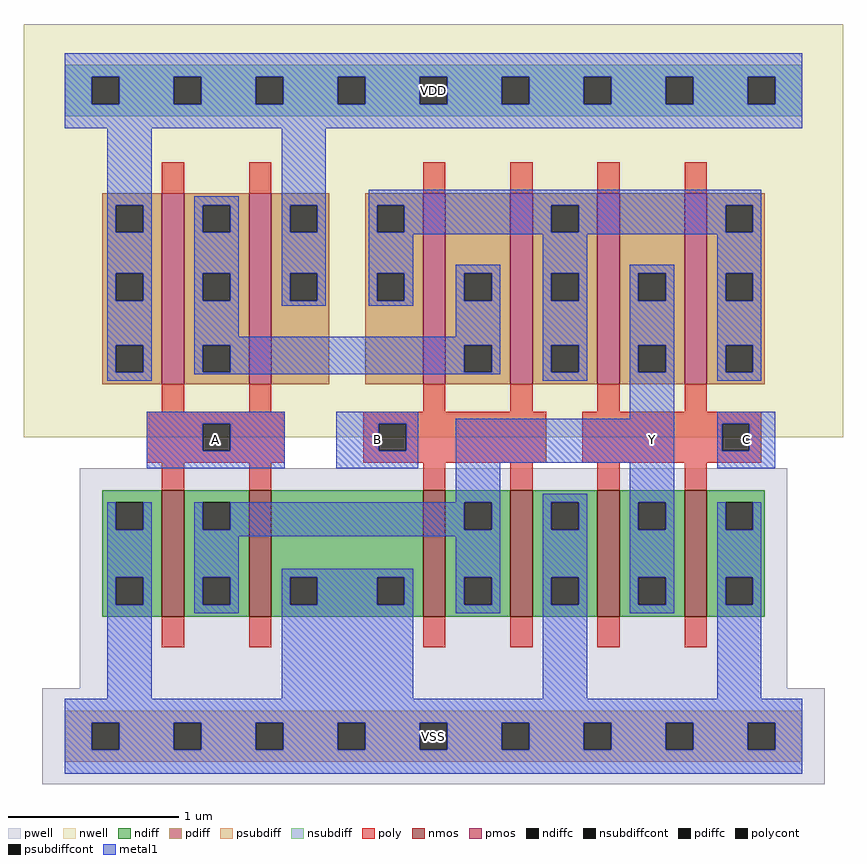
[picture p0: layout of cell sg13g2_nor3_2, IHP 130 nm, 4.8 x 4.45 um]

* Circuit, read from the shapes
.subckt sg13g2_nor3_2 B C Y VDD VSS A
XM1 Y A VSS VSS sg13_lv_nmos w=0.74u l=0.13u m=2
XM2 Y B VSS VSS sg13_lv_nmos w=0.74u l=0.13u m=2
XM3 Y C VSS VSS sg13_lv_nmos w=0.74u l=0.13u m=2
XM4 n1 A VDD VDD sg13_lv_pmos w=1.12u l=0.13u m=2
XM5 n1 B n2 VDD sg13_lv_pmos w=1.12u l=0.13u m=2
XM6 Y C n2 VDD sg13_lv_pmos w=1.12u l=0.13u m=2
.ends

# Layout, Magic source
magic
tech ihp-sg13g2
<< nwell >>
rect -24 175 456 417
<< pwell >>
rect 9 28 423 157
rect -13 -28 445 28
<< nmos >>
rect 57 70 70 144
rect 108 70 121 144
rect 210 70 223 144
rect 261 70 274 144
rect 312 70 325 144
rect 363 70 376 144
<< pmos >>
rect 57 206 70 318
rect 108 206 121 318
rect 210 206 223 318
rect 261 206 274 318
rect 312 206 325 318
rect 363 206 376 318
<< ndiff >>
rect 22 137 57 144
rect 22 121 30 137
rect 46 121 57 137
rect 22 93 57 121
rect 22 77 30 93
rect 46 77 57 93
rect 22 70 57 77
rect 70 137 108 144
rect 70 121 81 137
rect 97 121 108 137
rect 70 93 108 121
rect 70 77 81 93
rect 97 77 108 93
rect 70 70 108 77
rect 121 93 210 144
rect 121 77 132 93
rect 148 77 183 93
rect 199 77 210 93
rect 121 70 210 77
rect 223 137 261 144
rect 223 121 234 137
rect 250 121 261 137
rect 223 93 261 121
rect 223 77 234 93
rect 250 77 261 93
rect 223 70 261 77
rect 274 137 312 144
rect 274 121 285 137
rect 301 121 312 137
rect 274 93 312 121
rect 274 77 285 93
rect 301 77 312 93
rect 274 70 312 77
rect 325 137 363 144
rect 325 121 336 137
rect 352 121 363 137
rect 325 93 363 121
rect 325 77 336 93
rect 352 77 363 93
rect 325 70 363 77
rect 376 137 410 144
rect 376 121 387 137
rect 403 121 410 137
rect 376 93 410 121
rect 376 77 387 93
rect 403 77 410 93
rect 376 70 410 77
<< pdiff >>
rect 22 311 57 318
rect 22 295 30 311
rect 46 295 57 311
rect 22 271 57 295
rect 22 255 30 271
rect 46 255 57 271
rect 22 229 57 255
rect 22 213 30 229
rect 46 213 57 229
rect 22 206 57 213
rect 70 311 108 318
rect 70 295 81 311
rect 97 295 108 311
rect 70 271 108 295
rect 70 255 81 271
rect 97 255 108 271
rect 70 229 108 255
rect 70 213 81 229
rect 97 213 108 229
rect 70 206 108 213
rect 121 311 155 318
rect 121 295 132 311
rect 148 295 155 311
rect 121 271 155 295
rect 121 255 132 271
rect 148 255 155 271
rect 121 206 155 255
rect 176 311 210 318
rect 176 295 183 311
rect 199 295 210 311
rect 176 271 210 295
rect 176 255 183 271
rect 199 255 210 271
rect 176 206 210 255
rect 223 271 261 318
rect 223 255 234 271
rect 250 255 261 271
rect 223 229 261 255
rect 223 213 234 229
rect 250 213 261 229
rect 223 206 261 213
rect 274 311 312 318
rect 274 295 285 311
rect 301 295 312 311
rect 274 271 312 295
rect 274 255 285 271
rect 301 255 312 271
rect 274 229 312 255
rect 274 213 285 229
rect 301 213 312 229
rect 274 206 312 213
rect 325 271 363 318
rect 325 255 336 271
rect 352 255 363 271
rect 325 229 363 255
rect 325 213 336 229
rect 352 213 363 229
rect 325 206 363 213
rect 376 311 410 318
rect 376 295 387 311
rect 403 295 410 311
rect 376 271 410 295
rect 376 255 387 271
rect 403 255 410 271
rect 376 229 410 255
rect 376 213 387 229
rect 403 213 410 229
rect 376 206 410 213
<< ndiffc >>
rect 30 121 46 137
rect 30 77 46 93
rect 81 121 97 137
rect 81 77 97 93
rect 132 77 148 93
rect 183 77 199 93
rect 234 121 250 137
rect 234 77 250 93
rect 285 121 301 137
rect 285 77 301 93
rect 336 121 352 137
rect 336 77 352 93
rect 387 121 403 137
rect 387 77 403 93
<< pdiffc >>
rect 30 295 46 311
rect 30 255 46 271
rect 30 213 46 229
rect 81 295 97 311
rect 81 255 97 271
rect 81 213 97 229
rect 132 295 148 311
rect 132 255 148 271
rect 183 295 199 311
rect 183 255 199 271
rect 234 255 250 271
rect 234 213 250 229
rect 285 295 301 311
rect 285 255 301 271
rect 285 213 301 229
rect 336 255 352 271
rect 336 213 352 229
rect 387 295 403 311
rect 387 255 403 271
rect 387 213 403 229
<< psubdiff >>
rect 0 8 432 15
rect 0 -8 16 8
rect 32 -8 64 8
rect 80 -8 112 8
rect 128 -8 160 8
rect 176 -8 208 8
rect 224 -8 256 8
rect 272 -8 304 8
rect 320 -8 352 8
rect 368 -8 400 8
rect 416 -8 432 8
rect 0 -15 432 -8
<< nsubdiff >>
rect 0 386 432 393
rect 0 370 16 386
rect 32 370 64 386
rect 80 370 112 386
rect 128 370 160 386
rect 176 370 208 386
rect 224 370 256 386
rect 272 370 304 386
rect 320 370 352 386
rect 368 370 400 386
rect 416 370 432 386
rect 0 363 432 370
<< psubdiffcont >>
rect 16 -8 32 8
rect 64 -8 80 8
rect 112 -8 128 8
rect 160 -8 176 8
rect 208 -8 224 8
rect 256 -8 272 8
rect 304 -8 320 8
rect 352 -8 368 8
rect 400 -8 416 8
<< nsubdiffcont >>
rect 16 370 32 386
rect 64 370 80 386
rect 112 370 128 386
rect 160 370 176 386
rect 208 370 224 386
rect 256 370 272 386
rect 304 370 320 386
rect 352 370 368 386
rect 400 370 416 386
<< poly >>
rect 57 318 70 336
rect 108 318 121 336
rect 210 318 223 336
rect 261 318 274 336
rect 312 318 325 336
rect 363 318 376 336
rect 57 190 70 206
rect 108 190 121 206
rect 210 190 223 206
rect 261 190 274 206
rect 312 190 325 206
rect 363 190 376 206
rect 48 183 129 190
rect 48 167 81 183
rect 97 167 129 183
rect 48 160 129 167
rect 175 183 282 190
rect 175 167 184 183
rect 200 167 282 183
rect 175 160 282 167
rect 303 183 408 190
rect 303 167 385 183
rect 401 167 408 183
rect 303 160 408 167
rect 57 144 70 160
rect 108 144 121 160
rect 210 144 223 160
rect 261 144 274 160
rect 312 144 325 160
rect 363 144 376 160
rect 57 52 70 70
rect 108 52 121 70
rect 210 52 223 70
rect 261 52 274 70
rect 312 52 325 70
rect 363 52 376 70
<< polycont >>
rect 81 167 97 183
rect 184 167 200 183
rect 385 167 401 183
<< metal1 >>
rect 0 386 432 400
rect 0 370 16 386
rect 32 370 64 386
rect 80 370 112 386
rect 128 370 160 386
rect 176 370 208 386
rect 224 370 256 386
rect 272 370 304 386
rect 320 370 352 386
rect 368 370 400 386
rect 416 370 432 386
rect 0 356 432 370
rect 25 311 51 356
rect 25 295 30 311
rect 46 295 51 311
rect 25 271 51 295
rect 25 255 30 271
rect 46 255 51 271
rect 25 229 51 255
rect 25 213 30 229
rect 46 213 51 229
rect 25 208 51 213
rect 76 311 102 316
rect 76 295 81 311
rect 97 295 102 311
rect 76 271 102 295
rect 76 255 81 271
rect 97 255 102 271
rect 76 234 102 255
rect 127 311 153 356
rect 127 295 132 311
rect 148 295 153 311
rect 127 271 153 295
rect 127 255 132 271
rect 148 255 153 271
rect 127 252 153 255
rect 178 311 408 320
rect 178 295 183 311
rect 199 295 285 311
rect 301 295 387 311
rect 403 295 408 311
rect 178 294 408 295
rect 178 271 204 294
rect 178 255 183 271
rect 199 255 204 271
rect 178 252 204 255
rect 229 271 255 276
rect 229 255 234 271
rect 250 255 255 271
rect 229 234 255 255
rect 76 229 255 234
rect 76 213 81 229
rect 97 213 234 229
rect 250 213 255 229
rect 76 212 255 213
rect 280 271 306 294
rect 280 255 285 271
rect 301 255 306 271
rect 280 229 306 255
rect 280 213 285 229
rect 301 213 306 229
rect 280 208 306 213
rect 331 271 357 276
rect 331 255 336 271
rect 352 255 357 271
rect 331 229 357 255
rect 331 213 336 229
rect 352 213 357 229
rect 48 183 129 190
rect 48 167 81 183
rect 97 167 129 183
rect 48 157 129 167
rect 159 183 207 190
rect 331 186 357 213
rect 382 271 408 294
rect 382 255 387 271
rect 403 255 408 271
rect 382 229 408 255
rect 382 213 387 229
rect 403 213 408 229
rect 382 208 408 213
rect 159 167 184 183
rect 200 167 207 183
rect 159 157 207 167
rect 229 160 357 186
rect 229 137 255 160
rect 25 121 30 137
rect 46 121 51 137
rect 25 93 51 121
rect 25 77 30 93
rect 46 77 51 93
rect 25 22 51 77
rect 76 121 81 137
rect 97 121 234 137
rect 250 121 255 137
rect 76 117 255 121
rect 76 93 102 117
rect 76 77 81 93
rect 97 77 102 93
rect 76 72 102 77
rect 127 93 204 98
rect 127 77 132 93
rect 148 77 183 93
rect 199 77 204 93
rect 127 22 204 77
rect 229 93 255 117
rect 229 77 234 93
rect 250 77 255 93
rect 229 72 255 77
rect 280 137 306 142
rect 280 121 285 137
rect 301 121 306 137
rect 280 93 306 121
rect 280 77 285 93
rect 301 77 306 93
rect 280 22 306 77
rect 331 137 357 160
rect 382 183 416 190
rect 382 167 385 183
rect 401 167 416 183
rect 382 157 416 167
rect 331 121 336 137
rect 352 121 357 137
rect 331 93 357 121
rect 331 77 336 93
rect 352 77 357 93
rect 331 72 357 77
rect 382 121 387 137
rect 403 121 408 137
rect 382 93 408 121
rect 382 77 387 93
rect 403 77 408 93
rect 382 22 408 77
rect 0 8 432 22
rect 0 -8 16 8
rect 32 -8 64 8
rect 80 -8 112 8
rect 128 -8 160 8
rect 176 -8 208 8
rect 224 -8 256 8
rect 272 -8 304 8
rect 320 -8 352 8
rect 368 -8 400 8
rect 416 -8 432 8
rect 0 -22 432 -8
<< labels >>
flabel metal1 s 0 356 432 400 0 FreeSans 250 0 0 0 VDD
port 4 nsew
flabel metal1 s 331 72 357 276 0 FreeSans 250 0 0 0 Y
port 3 nsew
flabel metal1 s 159 157 207 190 0 FreeSans 250 0 0 0 B
port 1 nsew
flabel metal1 s 48 157 129 190 0 FreeSans 250 0 0 0 A
port 6 nsew
flabel metal1 s 0 -22 432 22 0 FreeSans 250 0 0 0 VSS
port 5 nsew
flabel metal1 s 382 157 416 190 0 FreeSans 250 0 0 0 C
port 2 nsew
<< properties >>
string FIXED_BBOX 0 0 432 378
string GDS_END 257732
string GDS_FILE ../gds/controller.gds
string GDS_START 251376
<< end >>
